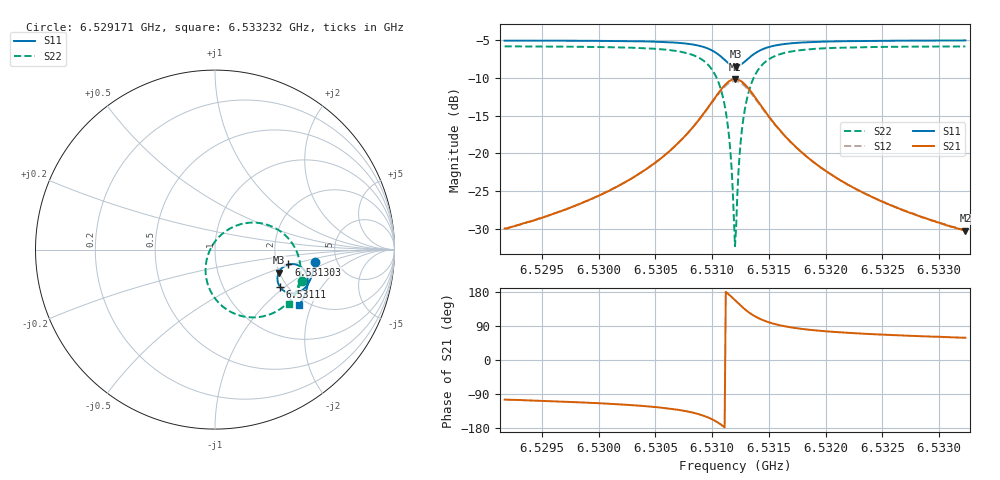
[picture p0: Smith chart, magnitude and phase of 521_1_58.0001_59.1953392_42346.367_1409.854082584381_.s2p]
#  HZ  S  RI  R  50.00
! Rohde & Schwarz Vector Network Analyzer
! Rohde-Schwarz,ZNB20-2Port,1311601062101988,3.16
! Created: UTC 3/21/2024, 1:13:41 AM
! freq[Hz]  re:S11  im:S11  re:S21  im:S21  re:S12  im:S12  re:S22  im:S22
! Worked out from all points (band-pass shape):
!   401 points, 6.529171 GHz to 6.533232 GHz, reference 50 ohm
!   highest |S21| = -10.13 dB at 6.531202 GHz (marker M1); lowest = -30.2 dB at 6.533232 GHz (marker M2)
!   |S21| within 3 dB of the highest: 6.531 GHz to 6.531406 GHz (405.9 kHz wide, 0.00621 % of centre)
!   lowest |S11| = -8.5 dB at 6.531212 GHz (marker M3), VSWR 2.21, Z = 99 - j29.8 ohm
!   |S11| at or under -10 dB: nowhere
!   |S22| runs from -32.3 to -5.8 dB; largest |S21 - S12| = 0.012
!   S11 on the Smith chart (normalised r, x): 6.529171 GHz: 3.39, -0.71; 6.53111 GHz: 1.83, -0.93; 6.531303 GHz: 2.32, -0.47; 6.533232 GHz: 1.82, -1.64
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6.5291713e9  0.5563 -0.0715  -0.0079 -0.0308  -0.00853 -0.0304  0.4829 -0.1758
6.5298515e9  0.5449 -0.128  -0.0175 -0.0434  -0.0186 -0.0432  0.4511 -0.2386
6.5305316e9  0.5154 -0.1959  -0.0521 -0.0743  -0.0542 -0.0727  0.3686 -0.3277
6.5307651e9  0.4875 -0.2253  -0.0926 -0.0934  -0.0954 -0.0902  0.287 -0.3672
6.5309376e9  0.443 -0.2435  -0.1617 -0.0991  -0.1638 -0.0926  0.1595 -0.3727
6.5310391e9  0.3976 -0.2372  -0.2316 -0.0716  -0.2308 -0.0619  0.0412 -0.3155
6.5311102e9  0.3627 -0.2088  -0.2831 -0.0118  -0.277 -0.00177  -0.0356 -0.2065
6.5311508e9  0.3499 -0.18  -0.2989 0.0421  -0.2895 0.05  -0.0527 -0.1147
6.5311914e9  0.3495 -0.146  -0.2933 0.1034  -0.2821 0.1079  -0.0336 -0.015
6.5312016e9  0.3516 -0.1375  -0.2882 0.1185  -0.2769 0.1217  -0.0226 0.00871
6.5312117e9  0.3547 -0.1292  -0.2815 0.1329  -0.2702 0.1353  -0.00951 0.0311
6.5312219e9  0.3584 -0.1215  -0.2735 0.1467  -0.2624 0.1479  0.00584 0.0524
6.5312422e9  0.3687 -0.1075  -0.2538 0.1708  -0.2434 0.1704  0.0417 0.0888
6.5312523e9  0.3746 -0.1015  -0.2427 0.1812  -0.2328 0.1799  0.0617 0.1039
6.5312726e9  0.3877 -0.0918  -0.2186 0.1979  -0.2098 0.1956  0.1039 0.1278
6.5313031e9  0.4087 -0.083  -0.181 0.2132  -0.1741 0.2099  0.1686 0.1471
6.5313741e9  0.4527 -0.0835  -0.1041 0.2145  -0.1007 0.2112  0.2973 0.1363
6.5314757e9  0.4906 -0.1067  -0.0384 0.1822  -0.037 0.1803  0.4039 0.0675
6.5316279e9  0.512 -0.1435  0.000683 0.1342  0.00178 0.1335  0.4622 -0.029
6.5318817e9  0.5164 -0.1875  0.0169 0.0874  0.0179 0.0872  0.4765 -0.1275
6.5325618e9  0.4972 -0.258  0.0185 0.0418  0.0193 0.0416  0.4479 -0.2443
6.5332318e9  0.4707 -0.3082  0.016 0.0263  0.0165 0.026  0.4136 -0.3042
